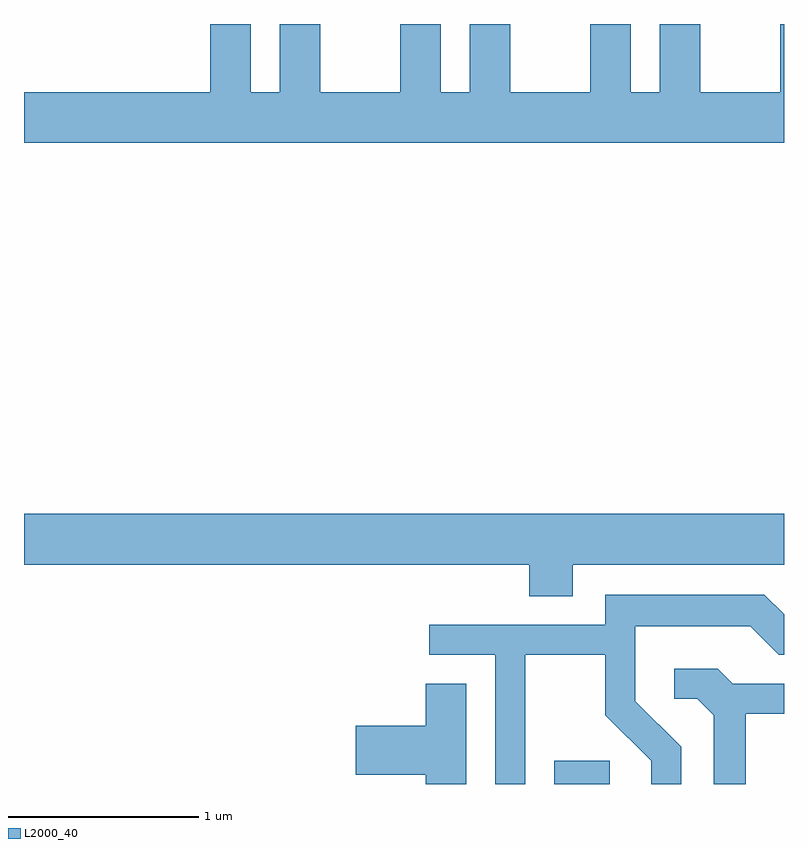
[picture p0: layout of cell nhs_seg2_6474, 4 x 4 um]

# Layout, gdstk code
import gdstk
lib = gdstk.Library(unit=1e-6, precision=1e-09)
def R(c, l, rs):  # rectangles x0, y0, x1, y1
    for r in rs: c.add(gdstk.rectangle(r[:2], r[2:], *l))
def P(c, l, *ps):  # polygons
    for p in ps: c.add(gdstk.Polygon(p, *l))
L2000_40 = (2000, 40)

nhs_seg2_6474 = lib.new_cell('nhs_seg2_6474')
R(nhs_seg2_6474, L2000_40, [(378.401,1073.802,378.694,1073.924)])
P(nhs_seg2_6474, L2000_40, [(377.956,1077.802),(377.956,1077.444),(377.804,1077.444),(377.804,1077.802),(377.591,1077.802),(377.591,1077.444),(377.169,1077.444),(377.169,1077.802),(376.956,1077.802),(376.956,1077.444),(376.804,1077.444),(376.804,1077.802),(376.591,1077.802),(376.591,1077.444),(375.611,1077.444),(375.611,1077.176),(379.611,1077.176),(379.611,1077.802),(379.591,1077.802),(379.591,1077.444),(379.169,1077.444),(379.169,1077.802),(378.956,1077.802),(378.956,1077.444),(378.804,1077.444),(378.804,1077.802),(378.591,1077.802),(378.591,1077.444),(378.169,1077.444),(378.169,1077.802)],
  [(378.499,1074.956),(379.611,1074.956),(379.611,1075.224),(375.611,1075.224),(375.611,1074.956),(378.271,1074.956),(378.271,1074.791),(378.499,1074.791)],
  [(378.249,1074.481),(378.671,1074.481),(378.671,1074.164),(378.911,1073.924),(378.911,1073.802),(379.069,1073.802),(379.069,1073.997),(378.829,1074.237),(378.829,1074.631),(379.434,1074.631),(379.584,1074.481),(379.611,1074.481),(379.611,1074.695),(379.507,1074.799),(378.671,1074.799),(378.671,1074.639),(377.743,1074.639),(377.743,1074.481),(378.091,1074.481),(378.091,1073.802),(378.249,1073.802)],
  [(379.409,1074.171),(379.611,1074.171),(379.611,1074.329),(379.342,1074.329),(379.262,1074.409),(379.033,1074.409),(379.033,1074.251),(379.154,1074.251),(379.241,1074.164),(379.241,1073.802),(379.409,1073.802)],
  [(377.939,1074.329),(377.726,1074.329),(377.726,1074.109),(377.356,1074.109),(377.356,1073.851),(377.726,1073.851),(377.726,1073.802),(377.939,1073.802)])

lib.write_gds('nhs_seg2_6474.gds')
